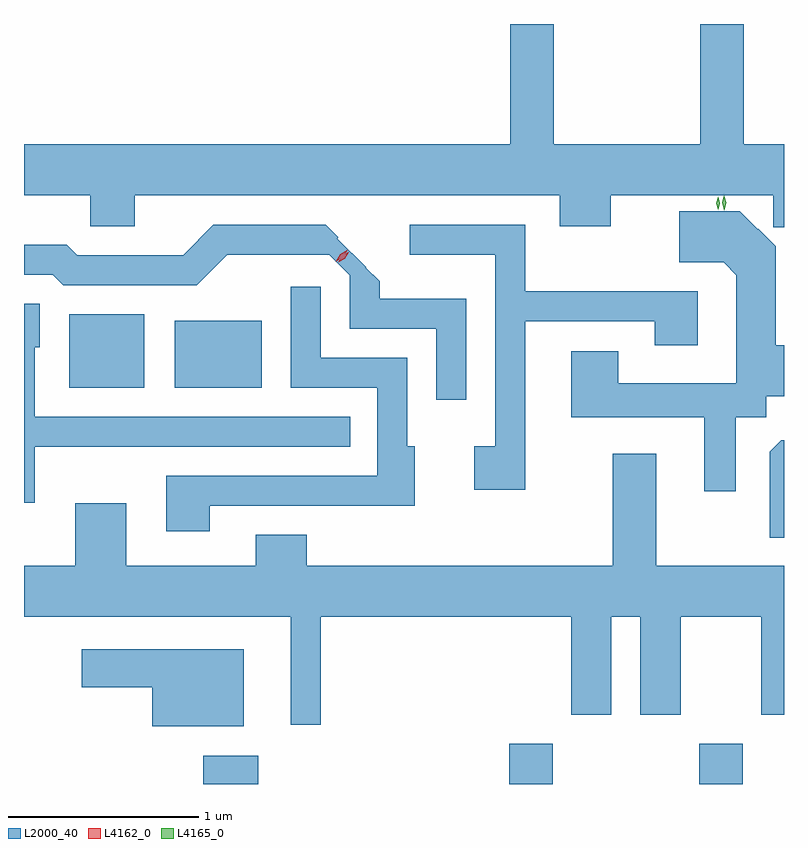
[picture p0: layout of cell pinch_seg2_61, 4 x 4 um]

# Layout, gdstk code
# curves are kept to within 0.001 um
import gdstk
lib = gdstk.Library(unit=1e-6, precision=1e-09)
def R(c, l, rs):  # rectangles x0, y0, x1, y1
    for r in rs: c.add(gdstk.rectangle(r[:2], r[2:], *l))
def P(c, l, *ps):  # polygons
    for p in ps: c.add(gdstk.Polygon(p, *l))
L2000_40 = (2000, 40)
L4162_0 = (4162, 0)
L4165_0 = (4165, 0)

pinch_seg2_61 = lib.new_cell('pinch_seg2_61')
R(pinch_seg2_61, L2000_40, [(1246.746,991.936,1247.034,992.084), (1248.356,991.936,1248.584,992.149), (1249.356,991.936,1249.584,992.149), (1246.041,994.021,1246.434,994.409), (1246.596,994.021,1247.054,994.374)])
P(pinch_seg2_61, L2000_40, [(1249.802,995.304),(1249.589,995.304),(1249.589,995.936),(1249.361,995.936),(1249.361,995.304),(1248.589,995.304),(1248.589,995.936),(1248.361,995.936),(1248.361,995.304),(1245.802,995.304),(1245.802,995.036),(1246.151,995.036),(1246.151,994.871),(1246.384,994.871),(1246.384,995.036),(1248.621,995.036),(1248.621,994.871),(1248.889,994.871),(1248.889,995.036),(1249.745,995.036),(1249.745,994.865),(1249.802,994.865)],
  [(1249.549,993.866),(1249.709,993.866),(1249.709,993.976),(1249.802,993.976),(1249.802,994.244),(1249.759,994.244),(1249.759,994.765),(1249.667,994.858),(1249.665,994.856),(1249.57,994.95),(1249.251,994.95),(1249.251,994.681),(1249.484,994.681),(1249.551,994.614),(1249.551,994.044),(1248.929,994.044),(1248.929,994.214),(1248.681,994.214),(1248.681,993.866),(1249.381,993.866),(1249.381,993.478),(1249.549,993.478)],
  [(1248.439,994.371),(1249.121,994.371),(1249.121,994.246),(1249.349,994.246),(1249.349,994.529),(1248.439,994.529),(1248.439,994.879),(1247.833,994.879),(1247.833,994.721),(1248.281,994.721),(1248.281,993.714),(1248.171,993.714),(1248.171,993.486),(1248.439,993.486)],
  [(1248.129,994.489),(1247.674,994.489),(1247.674,994.581),(1247.45,994.807),(1247.456,994.814),(1247.391,994.879),(1246.799,994.879),(1246.639,994.719),(1246.082,994.719),(1246.027,994.774),(1245.802,994.774),(1245.802,994.616),(1245.954,994.616),(1246.009,994.561),(1246.712,994.561),(1246.872,994.721),(1247.408,994.722),(1247.517,994.613),(1247.516,994.331),(1247.971,994.331),(1247.971,993.958),(1248.129,993.958)],
  [(1246.779,993.401),(1247.859,993.401),(1247.859,993.714),(1247.819,993.714),(1247.819,994.179),(1247.364,994.179),(1247.364,994.553),(1247.206,994.553),(1247.206,994.021),(1247.661,994.021),(1247.661,993.559),(1246.551,993.559),(1246.551,993.266),(1246.779,993.266)],
  [(1245.859,993.711),(1247.518,993.711),(1247.518,993.869),(1245.859,993.869),(1245.859,994.236),(1245.884,994.236),(1245.884,994.464),(1245.802,994.464),(1245.802,993.416),(1245.859,993.416)],
  [(1249.802,993.744),(1249.787,993.744),(1249.726,993.684),(1249.726,993.233),(1249.802,993.233)],
  [(1247.364,992.816),(1248.681,992.816),(1248.681,992.301),(1248.894,992.301),(1248.894,992.816),(1249.046,992.816),(1249.046,992.301),(1249.259,992.301),(1249.259,992.816),(1249.681,992.816),(1249.681,992.301),(1249.802,992.301),(1249.802,993.084),(1249.129,993.084),(1249.129,993.674),(1248.901,993.674),(1248.901,993.084),(1247.289,993.084),(1247.289,993.249),(1247.021,993.249),(1247.021,993.084),(1246.339,993.084),(1246.339,993.414),(1246.071,993.414),(1246.071,993.084),(1245.802,993.084),(1245.802,992.816),(1247.206,992.816),(1247.206,992.248),(1247.364,992.248)],
  [(1246.959,992.644),(1246.106,992.644),(1246.106,992.446),(1246.476,992.446),(1246.476,992.241),(1246.959,992.241)])
P(pinch_seg2_61, L4162_0, [(1247.456,994.681),(1247.456,994.682),(1247.476,994.715),(1247.509,994.736),(1247.51,994.736),(1247.51,994.735),(1247.49,994.701),(1247.456,994.681)],
  [(1247.444,994.685),(1247.444,994.686),(1247.467,994.724),(1247.505,994.749),(1247.505,994.749),(1247.505,994.748),(1247.482,994.71),(1247.444,994.685)])
P(pinch_seg2_61, L4165_0, [(1249.487,994.956),(1249.487,994.957),(1249.477,994.994),(1249.486,995.03),(1249.487,995.031),(1249.487,995.03),(1249.497,994.994),(1249.488,994.957)],
  [(1249.456,994.958),(1249.455,994.959),(1249.446,994.993),(1249.455,995.026),(1249.456,995.027),(1249.456,995.026),(1249.465,994.993),(1249.456,994.959)])

lib.write_gds('pinch_seg2_61.gds')
